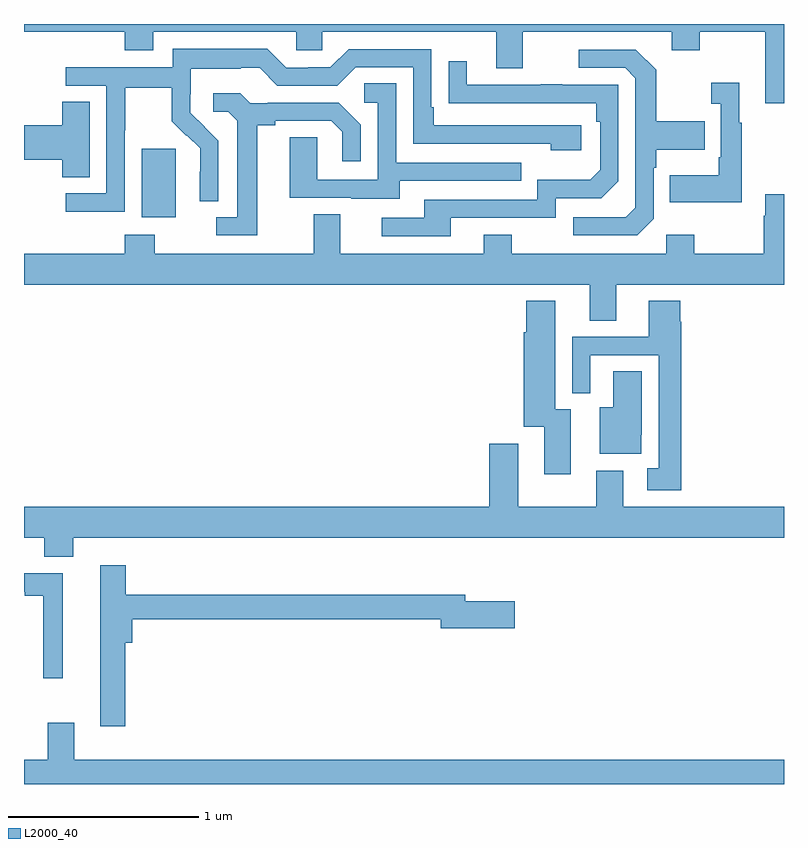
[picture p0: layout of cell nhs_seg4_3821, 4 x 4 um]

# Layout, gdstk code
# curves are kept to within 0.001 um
import gdstk
lib = gdstk.Library(unit=1e-6, precision=1e-09)
def R(c, l, rs):  # rectangles x0, y0, x1, y1
    for r in rs: c.add(gdstk.rectangle(r[:2], r[2:], *l))
def P(c, l, *ps):  # polygons
    for p in ps: c.add(gdstk.Polygon(p, *l))
L2000_40 = (2000, 40)

nhs_seg4_3821 = lib.new_cell('nhs_seg4_3821')
R(nhs_seg4_3821, L2000_40, [(313.619,755.882,313.798,756.243)])
P(nhs_seg4_3821, L2000_40, [(317,756.9),(313,756.9),(313,756.86),(313.529,756.86),(313.529,756.761),(313.681,756.761),(313.681,756.86),(314.433,756.86),(314.433,756.762),(314.571,756.762),(314.571,756.86),(315.485,756.86),(315.485,756.666),(315.625,756.666),(315.625,756.86),(316.409,756.86),(316.409,756.761),(316.557,756.761),(316.557,756.86),(316.901,756.86),(316.901,756.483),(317,756.483)],
  [(313.53,756.34),(313.533,756.34),(313.533,756.564),(313.777,756.564),(313.777,756.389),(313.854,756.312),(313.857,756.315),(313.928,756.245),(313.928,756.122),(313.926,756.122),(313.926,755.968),(314.022,755.968),(314.022,756.286),(313.876,756.434),(313.876,756.531),(313.878,756.531),(313.878,756.665),(314.141,756.665),(314.141,756.669),(314.241,756.669),(314.334,756.576),(314.649,756.576),(314.745,756.672),(315.048,756.672),(315.048,756.27),(315.773,756.27),(315.773,756.236),(315.934,756.236),(315.934,756.366),(315.157,756.366),(315.157,756.463),(315.144,756.463),(315.144,756.768),(314.709,756.768),(314.613,756.672),(314.495,756.672),(314.495,756.669),(314.379,756.669),(314.279,756.769),(313.782,756.769),(313.782,756.672),(313.221,756.672),(313.221,756.576),(313.434,756.576),(313.434,756.009),(313.221,756.009),(313.221,755.911),(313.53,755.911)],
  [(316.314,755.874),(316.314,756.143),(316.327,756.143),(316.327,756.239),(316.583,756.239),(316.583,756.387),(316.327,756.387),(316.327,756.659),(316.221,756.765),(315.921,756.765),(315.921,756.669),(316.164,756.669),(316.218,756.615),(316.218,755.934),(316.167,755.883),(315.891,755.883),(315.891,755.787),(316.227,755.787)],
  [(315.247,755.88),(315.798,755.88),(315.798,755.982),(316.038,755.982),(316.128,756.072),(316.128,756.579),(315.833,756.579),(315.833,756.584),(315.721,756.584),(315.721,756.579),(315.331,756.579),(315.331,756.703),(315.235,756.703),(315.235,756.484),(316.012,756.483),(316.012,756.386),(316.032,756.386),(316.032,756.132),(315.979,756.079),(315.702,756.079),(315.702,755.976),(315.107,755.976),(315.107,755.88),(314.883,755.88),(314.883,755.784),(315.247,755.784)],
  [(316.777,756.379),(316.765,756.379),(316.765,756.592),(316.617,756.592),(316.617,756.479),(316.668,756.479),(316.668,756.199),(316.656,756.199),(316.656,756.103),(316.399,756.103),(316.399,755.963),(316.777,755.963)],
  [(314.977,756.075),(315.617,756.075),(315.617,756.171),(314.958,756.171),(314.958,756.587),(314.79,756.587),(314.79,756.486),(314.862,756.486),(314.862,756.081),(314.544,756.081),(314.544,756.305),(314.399,756.305),(314.399,755.985),(314.723,755.985),(314.723,755.981),(314.977,755.981)],
  [(314.227,756.368),(314.323,756.368),(314.323,756.39),(314.618,756.39),(314.675,756.333),(314.675,756.177),(314.772,756.177),(314.772,756.37),(314.656,756.486),(314.284,756.486),(314.284,756.483),(314.19,756.483),(314.138,756.535),(313.995,756.535),(313.995,756.438),(314.076,756.438),(314.123,756.391),(314.123,755.883),(314.013,755.883),(314.013,755.787),(314.227,755.787)],
  [(313.345,756.491),(313.202,756.491),(313.202,756.368),(313,756.368),(313,756.185),(313.202,756.185),(313.202,756.094),(313.345,756.094)],
  [(316.117,755.528),(317,755.528),(317,756.004),(316.901,756.004),(316.901,755.891),(316.894,755.891),(316.894,755.692),(316.527,755.692),(316.527,755.791),(316.38,755.791),(316.38,755.692),(315.567,755.692),(315.567,755.791),(315.419,755.791),(315.419,755.692),(314.665,755.692),(314.665,755.9),(314.525,755.9),(314.525,755.692),(313.689,755.692),(313.689,755.791),(313.529,755.791),(313.529,755.692),(313,755.692),(313,755.528),(315.977,755.528),(315.977,755.338),(316.117,755.338)],
  [(315.877,754.873),(315.796,754.873),(315.796,755.443),(315.644,755.443),(315.644,755.277),(315.629,755.277),(315.629,754.779),(315.737,754.779),(315.737,754.53),(315.877,754.53)],
  [(316.459,755.333),(316.454,755.333),(316.454,755.443),(316.289,755.443),(316.289,755.253),(315.885,755.253),(315.885,754.956),(315.981,754.956),(315.981,755.157),(316.34,755.157),(316.34,754.562),(316.281,754.562),(316.281,754.445),(316.459,754.445)],
  [(316.249,754.738),(316.252,754.738),(316.252,755.072),(316.1,755.072),(316.1,754.882),(316.031,754.882),(316.031,754.637),(316.249,754.637)],
  [(313.259,754.196),(317,754.196),(317,754.36),(316.153,754.36),(316.153,754.549),(316.013,754.549),(316.013,754.36),(315.601,754.36),(315.601,754.69),(315.449,754.69),(315.449,754.36),(313,754.36),(313,754.196),(313.106,754.196),(313.106,754.097),(313.259,754.097)],
  [(313.532,753.644),(313.571,753.644),(313.571,753.766),(315.194,753.766),(315.194,753.719),(315.583,753.719),(315.583,753.861),(315.322,753.861),(315.322,753.895),(313.535,753.895),(313.535,754.051),(313.4,754.051),(313.4,753.204),(313.532,753.204)],
  [(313.204,754.008),(313,754.008),(313,753.912),(313.004,753.912),(313.004,753.892),(313.1,753.892),(313.1,753.456),(313.204,753.456)],
  [(317,753.028),(313.264,753.028),(313.264,753.223),(313.124,753.223),(313.124,753.028),(313,753.028),(313,752.9),(317,752.9)])

lib.write_gds('nhs_seg4_3821.gds')
